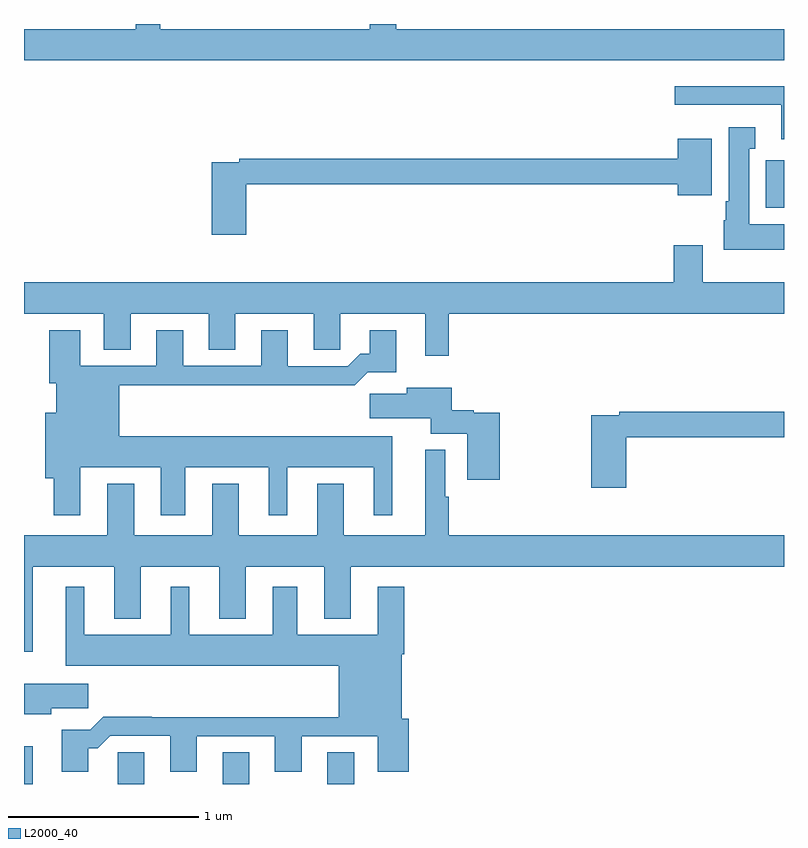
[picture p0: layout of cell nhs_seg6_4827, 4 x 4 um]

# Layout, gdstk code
import gdstk
lib = gdstk.Library(unit=1e-6, precision=1e-09)
def R(c, l, rs):  # rectangles x0, y0, x1, y1
    for r in rs: c.add(gdstk.rectangle(r[:2], r[2:], *l))
def P(c, l, *ps):  # polygons
    for p in ps: c.add(gdstk.Polygon(p, *l))
L2000_40 = (2000, 40)

nhs_seg6_4827 = lib.new_cell('nhs_seg6_4827')
R(nhs_seg6_4827, L2000_40, [(397,971.5,397.045,971.698), (397.494,971.5,397.633,971.666), (398.045,971.5,398.185,971.666), (398.597,971.5,398.737,971.666), (400.905,974.534,401,974.784)])
P(nhs_seg6_4827, L2000_40, [(401,975.472),(398.959,975.472),(398.959,975.5),(398.819,975.5),(398.819,975.472),(397.717,975.472),(397.717,975.5),(397.588,975.5),(397.588,975.472),(397,975.472),(397,975.308),(401,975.308)],
  [(401,975.172),(400.425,975.172),(400.425,975.075),(400.985,975.075),(400.985,974.894),(401,974.894)],
  [(401,974.446),(400.816,974.446),(400.816,974.843),(400.849,974.843),(400.849,974.956),(400.709,974.956),(400.709,974.566),(400.694,974.566),(400.694,974.466),(400.682,974.466),(400.682,974.312),(401,974.312)],
  [(398.171,974.656),(400.442,974.656),(400.442,974.6),(400.621,974.6),(400.621,974.896),(400.442,974.896),(400.442,974.792),(398.134,974.792),(398.134,974.772),(397.988,974.772),(397.988,974.391),(398.171,974.391)],
  [(399.235,973.976),(401,973.976),(401,974.14),(400.573,974.14),(400.573,974.335),(400.421,974.335),(400.421,974.14),(397,974.14),(397,973.976),(397.421,973.976),(397.421,973.786),(397.561,973.786),(397.561,973.976),(397.973,973.976),(397.973,973.786),(398.113,973.786),(398.113,973.976),(398.525,973.976),(398.525,973.786),(398.664,973.786),(398.664,973.976),(399.113,973.976),(399.113,973.755),(399.235,973.755)],
  [(397.297,973.166),(397.721,973.166),(397.721,972.915),(397.849,972.915),(397.849,973.166),(398.288,973.166),(398.288,972.915),(398.386,972.915),(398.386,973.166),(398.84,973.166),(398.84,972.915),(398.938,972.915),(398.938,973.33),(397.501,973.33),(397.501,973.6),(398.485,973.6),(398.485,973.598),(398.741,973.598),(398.81,973.667),(398.959,973.667),(398.959,973.888),(398.819,973.888),(398.819,973.765),(398.77,973.765),(398.703,973.698),(398.389,973.698),(398.389,973.888),(398.249,973.888),(398.249,973.701),(397.837,973.701),(397.837,973.888),(397.697,973.888),(397.697,973.701),(397.297,973.701),(397.297,973.888),(397.133,973.888),(397.133,973.608),(397.169,973.608),(397.169,973.453),(397.112,973.453),(397.112,973.109),(397.157,973.109),(397.157,972.915),(397.297,972.915)],
  [(399.503,973.453),(399.366,973.453),(399.366,973.466),(399.25,973.466),(399.25,973.585),(399.014,973.585),(399.014,973.553),(398.82,973.553),(398.82,973.424),(399.14,973.424),(399.14,973.343),(399.332,973.343),(399.332,973.101),(399.503,973.101)],
  [(400.169,973.324),(401,973.324),(401,973.46),(400.132,973.46),(400.132,973.44),(399.986,973.44),(399.986,973.059),(400.169,973.059)],
  [(397.045,972.644),(397.475,972.644),(397.475,972.371),(397.615,972.371),(397.615,972.644),(398.027,972.644),(398.027,972.371),(398.167,972.371),(398.167,972.644),(398.579,972.644),(398.579,972.371),(398.719,972.371),(398.719,972.644),(401,972.644),(401,972.808),(399.235,972.808),(399.235,973.013),(399.217,973.013),(399.217,973.258),(399.113,973.258),(399.113,972.808),(398.683,972.808),(398.683,973.081),(398.543,973.081),(398.543,972.808),(398.131,972.808),(398.131,973.081),(397.991,973.081),(397.991,972.808),(397.579,972.808),(397.579,973.081),(397.439,973.081),(397.439,972.808),(397,972.808),(397,972.195),(397.045,972.195)],
  [(397.339,971.687),(397.388,971.687),(397.455,971.754),(397.769,971.754),(397.769,971.565),(397.909,971.565),(397.909,971.751),(398.321,971.751),(398.321,971.565),(398.461,971.565),(398.461,971.751),(398.861,971.751),(398.861,971.565),(399.026,971.565),(399.026,971.844),(398.989,971.844),(398.989,972.182),(399.002,972.182),(399.002,972.538),(398.861,972.538),(398.861,972.286),(398.437,972.286),(398.437,972.538),(398.309,972.538),(398.309,972.286),(397.87,972.286),(397.87,972.538),(397.772,972.538),(397.772,972.286),(397.318,972.286),(397.318,972.538),(397.22,972.538),(397.22,972.122),(398.657,972.122),(398.657,971.852),(397.673,971.852),(397.673,971.855),(397.418,971.855),(397.348,971.785),(397.199,971.785),(397.199,971.565),(397.339,971.565)],
  [(397.144,971.899),(397.339,971.899),(397.339,972.028),(397,972.028),(397,971.867),(397.144,971.867)])

lib.write_gds('nhs_seg6_4827.gds')
